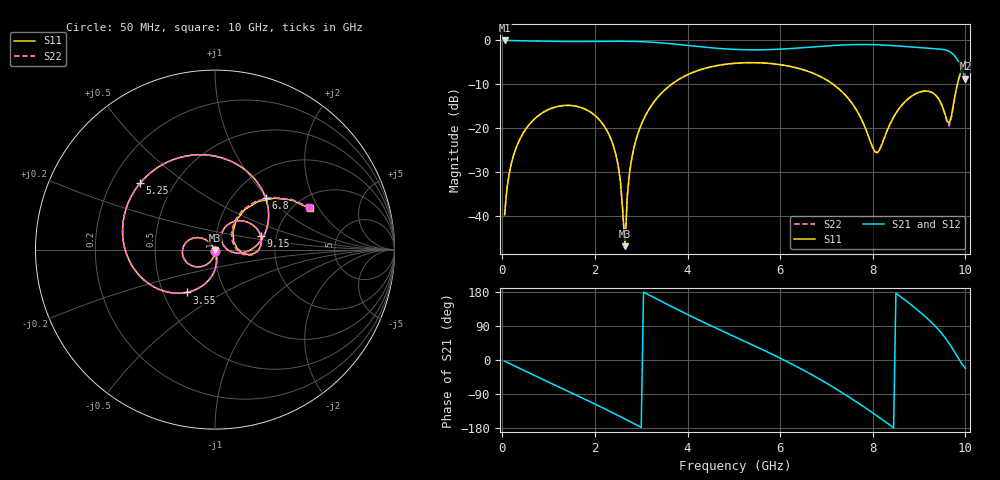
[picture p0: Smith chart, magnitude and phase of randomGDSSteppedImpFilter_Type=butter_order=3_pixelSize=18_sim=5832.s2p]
! freq	dB(S11)	phase(S11)	dB(S12)	phase(S12)
!  dB(S21)	phase(S21)	dB(S22)	phase(S22)
!S-par simulation data
#  GHz  S  DB  R 50
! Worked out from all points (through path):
!   200 points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, 50 MHz to 10 GHz, reference 50 ohm
!   highest |S21| = -0.01 dB at 50 MHz (marker M1); lowest = -8.7 dB at 10 GHz (marker M2)
!   group delay of S21, straight-line fit = 186 ps
!   lowest |S11| = -46.8 dB at 2.65 GHz (marker M3), VSWR 1.01, Z = 49.8 - j0.388 ohm
!   |S11| at or under -10 dB: start of sweep to 3.652 GHz; 7.146 GHz to 9.827 GHz (2.681 GHz wide, 31.6 % of centre)
!   |S22| runs from -46.7 to -4.8 dB; largest |S21 - S12| = 0
!   S11 on the Smith chart (normalised r, x): 50 MHz: 1.00, -0.02; 3.55 GHz: 0.66, -0.34; 5.25 GHz: 0.32, +0.34; 6.8 GHz: 1.39, +0.96; 9.15 GHz: 1.66, +0.27; 10 GHz: 2.43, +1.66
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0.05  -39.66 -92.3  -0.01 -3.0  -0.01 -3.0  -39.66 -92.3
0.2  -27.79 -101.7  -0.03 -11.9  -0.03 -11.9  -27.79 -101.7
0.55  -19.55 -122.9  -0.09 -32.4  -0.09 -32.4  -19.55 -122.9
1.75  -15.47 167.9  -0.24 -101.6  -0.24 -101.6  -15.47 167.9
2.4  -24.00 130.6  -0.19 -140.3  -0.19 -140.3  -24.00 130.6
2.55  -31.99 124.3  -0.18 -149.5  -0.18 -149.5  -31.98 124.5
2.65  -46.80 -121.3  -0.19 -155.7  -0.19 -155.7  -46.74 -121.7
2.7  -35.31 -77.3  -0.20 -158.9  -0.20 -158.9  -35.31 -77.6
2.85  -24.10 -81.2  -0.23 -168.3  -0.23 -168.3  -24.10 -81.2
3.4  -12.41 -114.3  -0.53 156.9  -0.53 156.9  -12.41 -114.3
3.55  -10.87 -123.5  -0.66 147.5  -0.66 147.5  -10.87 -123.5
4.25  -6.76 -165.3  -1.41 105.2  -1.41 105.2  -6.76 -165.3
5.05  -5.18 149.7  -2.05 59.7  -2.05 59.7  -5.18 149.7
5.25  -5.07 138.5  -2.12 48.4  -2.12 48.4  -5.07 138.6
6.7  -7.42 52.3  -1.49 -40.0  -1.49 -40.0  -7.42 52.4
6.8  -7.88 45.8  -1.41 -46.9  -1.41 -46.9  -7.88 45.9
7.6  -15.03 -3.7  -0.95 -106.7  -0.95 -106.7  -15.03 -3.5
8.05  -25.41 20.5  -0.97 -143.9  -0.97 -143.9  -25.31 20.6
8.35  -19.54 67.8  -1.12 -170.0  -1.12 -170.0  -19.51 67.5
9.15  -11.51 16.4  -1.75 112.6  -1.75 112.6  -11.51 15.8
9.65  -18.88 23.5  -2.49 43.7  -2.49 43.7  -19.49 23.0
10  -4.80 23.5  -8.73 -21.9  -8.73 -21.9  -4.85 24.4
